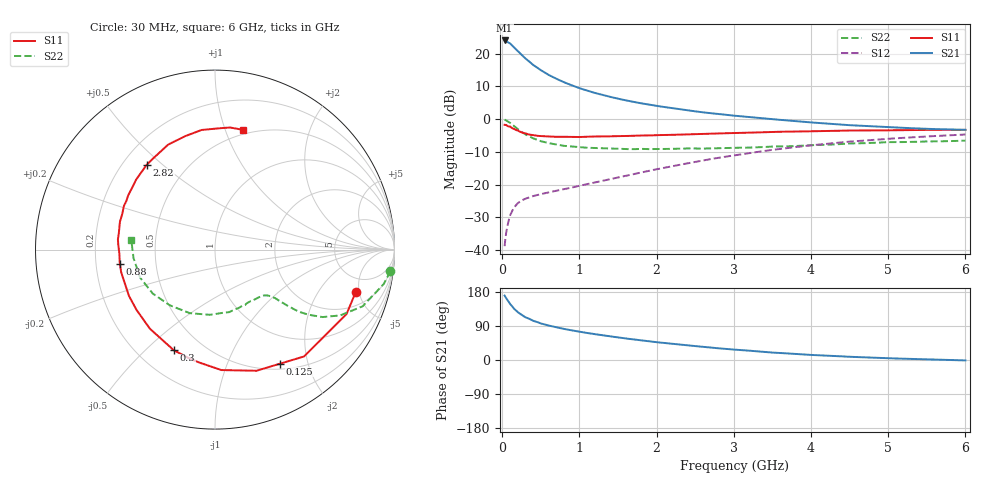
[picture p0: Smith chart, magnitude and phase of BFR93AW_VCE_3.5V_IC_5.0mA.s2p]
! Infineon Technologies  Discrete & RF Semiconductors
! BFR93AW
! VCE =  3.5 V,  IC =  5.0 mA
! Common Emitter S-Parameters:  Nov 2015
# GHz  S  MA  R  50
!  f  S11  S21  S12  S22
! GHz  MAG  ANG  MAG  ANG  MAG  ANG  MAG  ANG
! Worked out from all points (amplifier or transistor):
!   206 points, 30 MHz to 6 GHz, reference 50 ohm
!   highest |S21| = 24.1 dB at 30 MHz (marker M1)
!   |S21| within 3 dB of that: start of sweep to 190.5 MHz
!   unconditionally stable (mu >= 1): 940.9 MHz to 2.308 GHz
!   at 200 MHz: K = 0.31, MSG = 23.3 dB, |S12| = -25.7 dB
!   at 1.56 GHz: K = 1.10, MAG = 9.8 dB, |S12| = -17.5 dB
!   at 6 GHz: K = 0.94, MSG = 0.7 dB, |S12| = -4.7 dB
!   S11 on the Smith chart (normalised r, x): 30 MHz: 3.23, -4.62; 125 MHz: 0.57, -1.57; 300 MHz: 0.35, -0.61; 880 MHz: 0.30, -0.07; 2.82 GHz: 0.30, +0.45; 6 GHz: 0.46, +1.15
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0.03  0.8191 -16.7  16 169.9  0.0114 80.4  0.9851 -7.0
0.05  0.8162 -26.1  15.71 163.0  0.0182 77.5  0.9597 -11.5
0.1  0.7749 -50.2  14.44 148.1  0.0335 65.4  0.8811 -21.0
0.125  0.7319 -60.2  13.46 142.3  0.0387 60.9  0.8334 -24.1
0.15  0.7135 -71.1  12.64 135.7  0.0441 57.4  0.7886 -27.7
0.2  0.672 -87.0  11.05 126.3  0.0517 52.2  0.7075 -32.1
0.26  0.6231 -103.1  9.388 117.6  0.0577 48.0  0.6266 -35.1
0.3  0.606 -112.2  8.483 112.7  0.0607 46.6  0.5854 -36.4
0.4  0.571 -129.4  6.753 103.5  0.0666 44.5  0.509 -37.8
0.5  0.5514 -142.4  5.607 96.4  0.0714 44.6  0.4598 -38.5
0.6  0.5444 -151.7  4.757 90.9  0.0758 45.8  0.4299 -38.9
0.7  0.5368 -159.9  4.149 86.3  0.0804 47.1  0.4092 -39.7
0.88  0.5357 -171.2  3.362 79.0  0.0889 51.1  0.3837 -41.6
1.04  0.535 -179.3  2.878 73.3  0.098 53.8  0.3701 -44.1
1.2  0.544 173.9  2.517 68.2  0.1077 56.5  0.3617 -47.0
1.5  0.5519 163.7  2.053 59.6  0.1283 60.5  0.3533 -53.7
2.02  0.5703 148.0  1.583 46.6  0.1732 63.7  0.3503 -67.5
2.82  0.6066 128.6  1.193 30.6  0.2587 62.1  0.3596 -90.0
3.1  0.617 122.4  1.104 26.1  0.2901 60.0  0.3652 -98.4
4.1  0.6559 103.0  0.875 12.5  0.4085 49.8  0.4023 -132.5
5.1  0.6762 88.0  0.745 4.0  0.51 36.9  0.4454 -162.4
6  0.685 76.9  0.687 -1.1  0.5824 25.6  0.4697 173.4
